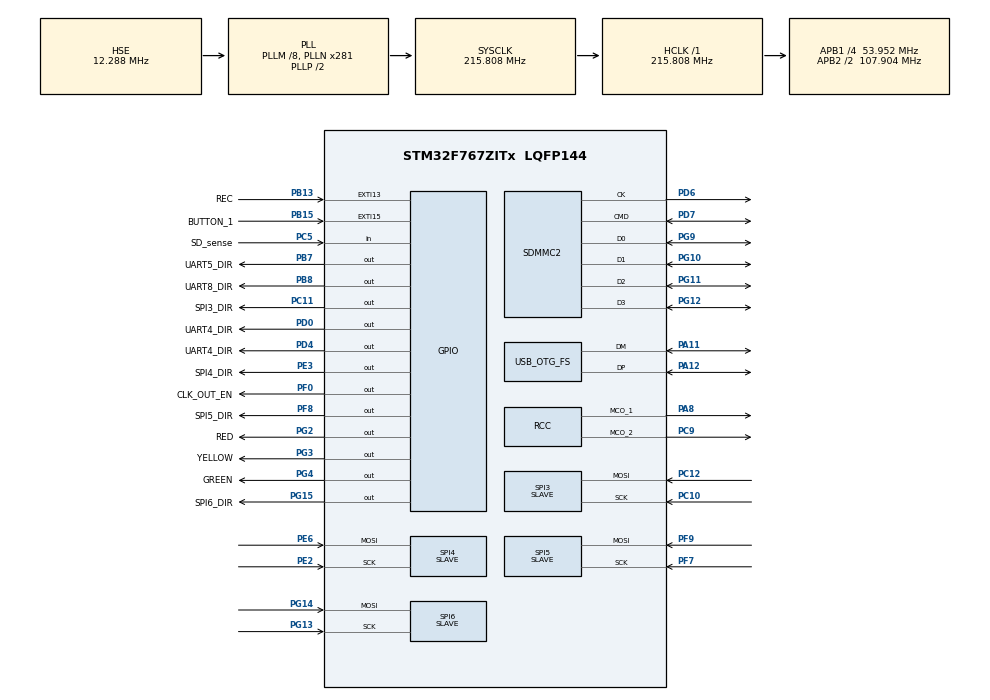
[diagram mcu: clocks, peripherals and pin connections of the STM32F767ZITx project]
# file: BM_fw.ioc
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Dma.Request0=SPI5_RX
Dma.Request1=SPI4_RX
Dma.Request2=SPI3_RX
Dma.Request3=SPI6_RX
Dma.Request4=SDMMC2_TX
Dma.SDMMC2_TX.4.Direction=DMA_MEMORY_TO_PERIPH
Dma.SDMMC2_TX.4.FIFOMode=DMA_FIFOMODE_ENABLE
Dma.SDMMC2_TX.4.FIFOThreshold=DMA_FIFO_THRESHOLD_FULL
Dma.SDMMC2_TX.4.Instance=DMA2_Stream5
Dma.SDMMC2_TX.4.MemBurst=DMA_MBURST_INC4
Dma.SDMMC2_TX.4.MemDataAlignment=DMA_MDATAALIGN_WORD
Dma.SDMMC2_TX.4.MemInc=DMA_MINC_ENABLE
Dma.SDMMC2_TX.4.Mode=DMA_PFCTRL
Dma.SDMMC2_TX.4.PeriphBurst=DMA_PBURST_INC4
Dma.SDMMC2_TX.4.PeriphDataAlignment=DMA_PDATAALIGN_WORD
Dma.SDMMC2_TX.4.PeriphInc=DMA_PINC_DISABLE
Dma.SDMMC2_TX.4.Priority=DMA_PRIORITY_LOW
Dma.SPI3_RX.2.Direction=DMA_PERIPH_TO_MEMORY
Dma.SPI3_RX.2.FIFOMode=DMA_FIFOMODE_DISABLE
Dma.SPI3_RX.2.Instance=DMA1_Stream0
Dma.SPI3_RX.2.MemDataAlignment=DMA_MDATAALIGN_HALFWORD
Dma.SPI3_RX.2.MemInc=DMA_MINC_ENABLE
Dma.SPI3_RX.2.Mode=DMA_CIRCULAR
Dma.SPI3_RX.2.PeriphDataAlignment=DMA_PDATAALIGN_HALFWORD
Dma.SPI3_RX.2.PeriphInc=DMA_PINC_DISABLE
Dma.SPI3_RX.2.Priority=DMA_PRIORITY_HIGH
Dma.SPI4_RX.1.Direction=DMA_PERIPH_TO_MEMORY
Dma.SPI4_RX.1.FIFOMode=DMA_FIFOMODE_DISABLE
Dma.SPI4_RX.1.Instance=DMA2_Stream0
Dma.SPI4_RX.1.MemDataAlignment=DMA_MDATAALIGN_HALFWORD
Dma.SPI4_RX.1.MemInc=DMA_MINC_ENABLE
Dma.SPI4_RX.1.Mode=DMA_CIRCULAR
Dma.SPI4_RX.1.PeriphDataAlignment=DMA_PDATAALIGN_HALFWORD
Dma.SPI4_RX.1.PeriphInc=DMA_PINC_DISABLE
Dma.SPI4_RX.1.Priority=DMA_PRIORITY_HIGH
Dma.SPI5_RX.0.Direction=DMA_PERIPH_TO_MEMORY
Dma.SPI5_RX.0.FIFOMode=DMA_FIFOMODE_DISABLE
Dma.SPI5_RX.0.Instance=DMA2_Stream3
Dma.SPI5_RX.0.MemDataAlignment=DMA_MDATAALIGN_HALFWORD
Dma.SPI5_RX.0.MemInc=DMA_MINC_ENABLE
Dma.SPI5_RX.0.Mode=DMA_CIRCULAR
Dma.SPI5_RX.0.PeriphDataAlignment=DMA_PDATAALIGN_HALFWORD
Dma.SPI5_RX.0.PeriphInc=DMA_PINC_DISABLE
Dma.SPI5_RX.0.Priority=DMA_PRIORITY_HIGH
Dma.SPI6_RX.3.Direction=DMA_PERIPH_TO_MEMORY
Dma.SPI6_RX.3.FIFOMode=DMA_FIFOMODE_DISABLE
Dma.SPI6_RX.3.Instance=DMA2_Stream6
Dma.SPI6_RX.3.MemDataAlignment=DMA_MDATAALIGN_BYTE
Dma.SPI6_RX.3.MemInc=DMA_MINC_ENABLE
Dma.SPI6_RX.3.Mode=DMA_CIRCULAR
Dma.SPI6_RX.3.PeriphDataAlignment=DMA_PDATAALIGN_HALFWORD
Dma.SPI6_RX.3.PeriphInc=DMA_PINC_DISABLE
Dma.SPI6_RX.3.Priority=DMA_PRIORITY_HIGH
FATFS.USE_DMA_CODE_SD=0
FATFS._FS_EXFAT=0
FATFS._FS_LOCK=5
FATFS._MAX_SS=4096
FATFS._MIN_SS=512
Mcu.Family=STM32F7
Mcu.Name=STM32F767ZITx
Mcu.Package=LQFP144
NVIC.DMA1_Stream0_IRQn=true\:0\:0\:false\:false\:true\:false
NVIC.DMA2_Stream0_IRQn=true\:0\:0\:false\:false\:true\:false
NVIC.DMA2_Stream3_IRQn=true\:0\:0\:false\:false\:true\:false
NVIC.DMA2_Stream5_IRQn=true\:0\:0\:false\:false\:true\:false
NVIC.DMA2_Stream6_IRQn=true\:0\:0\:false\:false\:true\:false
NVIC.EXTI15_10_IRQn=true\:0\:0\:false\:false\:true\:true
NVIC.OTG_FS_IRQn=true\:0\:0\:false\:false\:true\:false
NVIC.PriorityGroup=NVIC_PRIORITYGROUP_4
NVIC.TIM8_TRG_COM_TIM14_IRQn=true\:0\:0\:false\:false\:true\:true
PA11.Mode=Device_Only
PA11.Signal=USB_OTG_FS_DM
PA12.Mode=Device_Only
PA12.Signal=USB_OTG_FS_DP
PA8.GPIO_Speed=GPIO_SPEED_FREQ_VERY_HIGH
PA8.Mode=Clock-out-1
PA8.Signal=RCC_MCO_1
PB13.GPIO_Label=REC
PB13.GPIO_PuPd=GPIO_PULLUP
PB13.Signal=GPXTI13
PB15.GPIO_Label=BUTTON_1
PB15.GPIO_PuPd=GPIO_PULLUP
PB15.Signal=GPXTI15
PB7.GPIO_Label=UART5_DIR
PB7.GPIO_Speed=GPIO_SPEED_FREQ_VERY_HIGH
PB7.PinState=GPIO_PIN_RESET
PB7.Signal=GPIO_Output
PB8.GPIO_Label=UART8_DIR
PB8.GPIO_Speed=GPIO_SPEED_FREQ_VERY_HIGH
PB8.PinState=GPIO_PIN_RESET
PB8.Signal=GPIO_Output
PC10.Mode=RX_Only_Simplex_Unidirect_Slave
PC10.Signal=SPI3_SCK
PC11.GPIO_Label=SPI3_DIR
PC11.GPIO_Speed=GPIO_SPEED_FREQ_VERY_HIGH
PC11.PinState=GPIO_PIN_RESET
PC11.Signal=GPIO_Output
PC12.Mode=RX_Only_Simplex_Unidirect_Slave
PC12.Signal=SPI3_MOSI
PC5.GPIO_Label=SD_sense
PC5.Signal=GPIO_Input
PC9.GPIO_Speed=GPIO_SPEED_FREQ_VERY_HIGH
PC9.Mode=Clock-out-2
PC9.Signal=RCC_MCO_2
PD0.GPIO_Label=UART4_DIR
PD0.GPIO_Speed=GPIO_SPEED_FREQ_VERY_HIGH
PD0.PinState=GPIO_PIN_RESET
PD0.Signal=GPIO_Output
PD4.GPIO_Label=UART4_DIR
PD4.GPIO_Speed=GPIO_SPEED_FREQ_VERY_HIGH
PD4.PinState=GPIO_PIN_RESET
PD4.Signal=GPIO_Output
PD6.Mode=SD_4_bits_Wide_bus
PD6.Signal=SDMMC2_CK
PD7.Mode=SD_4_bits_Wide_bus
PD7.Signal=SDMMC2_CMD
PE2.Mode=RX_Only_Simplex_Unidirect_Slave
PE2.Signal=SPI4_SCK
PE3.GPIO_Label=SPI4_DIR
PE3.GPIO_Speed=GPIO_SPEED_FREQ_VERY_HIGH
PE3.PinState=GPIO_PIN_RESET
PE3.Signal=GPIO_Output
PE6.Mode=RX_Only_Simplex_Unidirect_Slave
PE6.Signal=SPI4_MOSI
PF0.GPIO_Label=CLK_OUT_EN
PF0.GPIO_Speed=GPIO_SPEED_FREQ_VERY_HIGH
PF0.PinState=GPIO_PIN_RESET
PF0.Signal=GPIO_Output
PF7.Mode=RX_Only_Simplex_Unidirect_Slave
PF7.Signal=SPI5_SCK
PF8.GPIO_Label=SPI5_DIR
PF8.GPIO_Speed=GPIO_SPEED_FREQ_VERY_HIGH
PF8.PinState=GPIO_PIN_RESET
PF8.Signal=GPIO_Output
PF9.Mode=RX_Only_Simplex_Unidirect_Slave
PF9.Signal=SPI5_MOSI
PG10.Mode=SD_4_bits_Wide_bus
PG10.Signal=SDMMC2_D1
PG11.Mode=SD_4_bits_Wide_bus
PG11.Signal=SDMMC2_D2
PG12.Mode=SD_4_bits_Wide_bus
PG12.Signal=SDMMC2_D3
PG13.Mode=RX_Only_Simplex_Unidirect_Slave
PG13.Signal=SPI6_SCK
PG14.Mode=RX_Only_Simplex_Unidirect_Slave
PG14.Signal=SPI6_MOSI
PG15.GPIO_Label=SPI6_DIR
PG15.GPIO_Speed=GPIO_SPEED_FREQ_VERY_HIGH
PG15.PinState=GPIO_PIN_RESET
PG15.Signal=GPIO_Output
PG2.GPIO_Label=RED
PG2.GPIO_Speed=GPIO_SPEED_FREQ_HIGH
PG2.Signal=GPIO_Output
PG3.GPIO_Label=YELLOW
PG3.GPIO_Speed=GPIO_SPEED_FREQ_HIGH
PG3.Signal=GPIO_Output
PG4.GPIO_Label=GREEN
PG4.GPIO_Speed=GPIO_SPEED_FREQ_HIGH
PG4.Signal=GPIO_Output
PG9.Mode=SD_4_bits_Wide_bus
PG9.Signal=SDMMC2_D0
PH0/OSC_IN.Mode=HSE-External-Oscillator
PH0/OSC_IN.Signal=RCC_OSC_IN
PH1/OSC_OUT.Mode=HSE-External-Oscillator
PH1/OSC_OUT.Signal=RCC_OSC_OUT
ProjectManager.HeapSize=0xF000
ProjectManager.StackSize=0xF000
ProjectManager.TargetToolchain=MDK-ARM V5
RCC.AHBFreq_Value=215808000
RCC.APB1CLKDivider=RCC_HCLK_DIV4
RCC.APB1Freq_Value=53952000
RCC.APB1TimFreq_Value=107904000
RCC.APB2CLKDivider=RCC_HCLK_DIV2
RCC.APB2Freq_Value=107904000
RCC.APB2TimFreq_Value=215808000
RCC.CortexFreq_Value=215808000
RCC.HCLKFreq_Value=215808000
RCC.HSE_VALUE=12288000
RCC.HSI_VALUE=16000000
RCC.LSE_VALUE=32768
RCC.PLL48CLockSelection=RCC_CLK48SOURCE_PLLSAIP
RCC.PLLI2SN=128
RCC.PLLI2SR=7
RCC.PLLM=8
RCC.PLLN=281
RCC.PLLQ=9
RCC.PLLSAIN=125
RCC.PLLSAIP=RCC_PLLSAIP_DIV4
RCC.RCC_MCO1Source=RCC_MCO1SOURCE_HSE
RCC.RCC_MCO2Source=RCC_MCO2SOURCE_HSE
RCC.SDMMC2ClockSelection=RCC_SDMMC2CLKSOURCE_CLK48
RCC.SYSCLKFreq_VALUE=215808000
RCC.SYSCLKSource=RCC_SYSCLKSOURCE_PLLCLK
RCC.USBFreq_Value=48000000
RCC.VCOOutputFreq_Value=431616000
SDMMC2.ClockDiv=2
SPI3.CLKPhase=SPI_PHASE_2EDGE
SPI3.CLKPolarity=SPI_POLARITY_HIGH
SPI3.DataSize=SPI_DATASIZE_16BIT
SPI3.Direction=SPI_DIRECTION_2LINES_RXONLY
SPI3.Mode=SPI_MODE_SLAVE
SPI3.VirtualType=VM_SLAVE
SPI4.CLKPhase=SPI_PHASE_2EDGE
SPI4.CLKPolarity=SPI_POLARITY_HIGH
SPI4.DataSize=SPI_DATASIZE_16BIT
SPI4.Direction=SPI_DIRECTION_2LINES_RXONLY
SPI4.Mode=SPI_MODE_SLAVE
SPI4.VirtualType=VM_SLAVE
SPI5.CLKPhase=SPI_PHASE_2EDGE
SPI5.CLKPolarity=SPI_POLARITY_HIGH
SPI5.DataSize=SPI_DATASIZE_16BIT
SPI5.Direction=SPI_DIRECTION_2LINES_RXONLY
SPI5.Mode=SPI_MODE_SLAVE
SPI5.VirtualType=VM_SLAVE
SPI6.CLKPhase=SPI_PHASE_2EDGE
SPI6.CLKPolarity=SPI_POLARITY_HIGH
SPI6.DataSize=SPI_DATASIZE_16BIT
SPI6.Direction=SPI_DIRECTION_2LINES_RXONLY
SPI6.Mode=SPI_MODE_SLAVE
SPI6.VirtualType=VM_SLAVE
TIM14.AutoReloadPreload=TIM_AUTORELOAD_PRELOAD_ENABLE
TIM14.Period=107
TIM14.Prescaler=1000
USB_DEVICE.CLASS_NAME_FS=AUDIO
USB_DEVICE.USBD_AUDIO_FREQ-AUDIO_FS=24000
USB_DEVICE.USBD_LPM_ENABLED-AUDIO_FS=0
USB_DEVICE.VirtualMode-AUDIO_FS=Audio
USB_DEVICE.VirtualModeFS=Audio_FS
USB_OTG_FS.Sof_enable=ENABLE
USB_OTG_FS.VirtualMode=Device_Only
VP_FATFS_VS_SDIO.Mode=SDIO
VP_TIM14_VS_ClockSourceINT.Mode=Enable_Timer
VP_USB_DEVICE_VS_USB_DEVICE_AUDIO_FS.Mode=AUDIO_FS
board=custom

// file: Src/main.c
/**
  ******************************************************************************
  * @file           : main.c
  * @brief          : Main program body
  ******************************************************************************
  * This notice applies to any and all portions of this file
  * that are not between comment pairs USER CODE BEGIN and
  * USER CODE END. Other portions of this file, whether
  * inserted by the user or by software development tools
  * are owned by their respective copyright owners.
  *
  * Copyright (c) 2018 STMicroelectronics International N.V.
  * All rights reserved.
  *
  * Redistribution and use in source and binary forms, with or without
  * modification, are permitted, provided that the following conditions are met:
  *
  * 1. Redistribution of source code must retain the above copyright notice,
  *    this list of conditions and the following disclaimer.
  * 2. Redistributions in binary form must reproduce the above copyright notice,
  *    this list of conditions and the following disclaimer in the documentation
  *    and/or other materials provided with the distribution.
  * 3. Neither the name of STMicroelectronics nor the names of other
  *    contributors to this software may be used to endorse or promote products
  *    derived from this software without specific written permission.
  * 4. This software, including modifications and/or derivative works of this
  *    software, must execute solely and exclusively on microcontroller or
  *    microprocessor devices manufactured by or for STMicroelectronics.
  * 5. Redistribution and use of this software other than as permitted under
  *    this license is void and will automatically terminate your rights under
  *    this license.
  *
  * THIS SOFTWARE IS PROVIDED BY STMICROELECTRONICS AND CONTRIBUTORS "AS IS"
  * AND ANY EXPRESS, IMPLIED OR STATUTORY WARRANTIES, INCLUDING, BUT NOT
  * LIMITED TO, THE IMPLIED WARRANTIES OF MERCHANTABILITY, FITNESS FOR A
  * PARTICULAR PURPOSE AND NON-INFRINGEMENT OF THIRD PARTY INTELLECTUAL PROPERTY
  * RIGHTS ARE DISCLAIMED TO THE FULLEST EXTENT PERMITTED BY LAW. IN NO EVENT
  * SHALL STMICROELECTRONICS OR CONTRIBUTORS BE LIABLE FOR ANY DIRECT, INDIRECT,
  * INCIDENTAL, SPECIAL, EXEMPLARY, OR CONSEQUENTIAL DAMAGES (INCLUDING, BUT NOT
  * LIMITED TO, PROCUREMENT OF SUBSTITUTE GOODS OR SERVICES; LOSS OF USE, DATA,
  * OR PROFITS; OR BUSINESS INTERRUPTION) HOWEVER CAUSED AND ON ANY THEORY OF
  * LIABILITY, WHETHER IN CONTRACT, STRICT LIABILITY, OR TORT (INCLUDING
  * NEGLIGENCE OR OTHERWISE) ARISING IN ANY WAY OUT OF THE USE OF THIS SOFTWARE,
  * EVEN IF ADVISED OF THE POSSIBILITY OF SUCH DAMAGE.
  *
  ******************************************************************************
  */
#include "main.h"
#include "stm32f7xx_hal.h"
#include "fatfs.h"
#include "usb_device.h"

/* USER CODE BEGIN Includes */

#include "fileSystem.h"
#include "fifo.h"
#include "usb_device.h"
#include "storage.h"
#include "ff.h"

/* USER CODE END Includes */

SD_HandleTypeDef hsd2;
DMA_HandleTypeDef hdma_sdmmc2_tx;

SPI_HandleTypeDef hspi3;
SPI_HandleTypeDef hspi4;
SPI_HandleTypeDef hspi5;
SPI_HandleTypeDef hspi6;
DMA_HandleTypeDef hdma_spi3_rx;
DMA_HandleTypeDef hdma_spi4_rx;
DMA_HandleTypeDef hdma_spi5_rx;
DMA_HandleTypeDef hdma_spi6_rx;

TIM_HandleTypeDef htim14;

/* USER CODE BEGIN PV */
/* Private variables ---------------------------------------------------------*/

int16_t receiveBuffer5[BUFFER_SIZE];
int16_t receiveBuffer4[BUFFER_SIZE];
int16_t receiveBuffer6[BUFFER_SIZE];
int16_t receiveBuffer3[BUFFER_SIZE];

int locked = 1;

/* USER CODE END PV */

void SystemClock_Config(void);
static void MX_GPIO_Init(void);
static void MX_DMA_Init(void);
static void MX_SPI3_Init(void);
static void MX_SPI6_Init(void);
static void MX_SDMMC2_SD_Init(void);
static void MX_SPI5_Init(void);
static void MX_SPI4_Init(void);
static void MX_TIM14_Init(void);

/* USER CODE BEGIN PFP */
/* Private function prototypes -----------------------------------------------*/

/* USER CODE END PFP */

int main(void)
{

  /* MCU Configuration----------------------------------------------------------*/

  /* Reset of all peripherals, Initializes the Flash interface and the Systick. */
  HAL_Init();

  /* Configure the system clock */
  SystemClock_Config();

  /* Initialize all configured peripherals */
  MX_GPIO_Init();
  MX_DMA_Init();
  MX_SPI3_Init();
  MX_SPI6_Init();
  MX_SDMMC2_SD_Init();
  MX_FATFS_Init();
  MX_SPI5_Init();
  MX_SPI4_Init();
  MX_USB_DEVICE_Init();
  MX_TIM14_Init();
  /* USER CODE BEGIN 2 */

  HAL_GPIO_WritePin(RED_GPIO_Port, RED_Pin, GPIO_PIN_SET);
  HAL_GPIO_WritePin(YELLOW_GPIO_Port, YELLOW_Pin, GPIO_PIN_SET);
  HAL_GPIO_WritePin(GREEN_GPIO_Port, GREEN_Pin, GPIO_PIN_SET);
  init_file_system();

  //start_new_session();

  /* USER CODE END 2 */

  /* Infinite loop */
  /* USER CODE BEGIN WHILE */

  int i;

  for (i=0; i<BUFFER_SIZE; i++)
  {
    receiveBuffer5[i] = 0;
    receiveBuffer4[i] = 0;
    receiveBuffer6[i] = 0;
    receiveBuffer3[i] = 0;
  }

  HAL_SPI_Receive_DMA(&hspi5, (uint8_t*)receiveBuffer5, BUFFER_SIZE);
  HAL_SPI_Receive_DMA(&hspi4, (uint8_t*)receiveBuffer4, BUFFER_SIZE);
  HAL_SPI_Receive_DMA(&hspi6, (uint8_t*)receiveBuffer6, BUFFER_SIZE);
  HAL_SPI_Receive_DMA(&hspi3, (uint8_t*)receiveBuffer3, BUFFER_SIZE);

  start_new_session();

  HAL_GPIO_WritePin(RED_GPIO_Port, RED_Pin, GPIO_PIN_RESET);
  HAL_GPIO_WritePin(YELLOW_GPIO_Port, YELLOW_Pin, GPIO_PIN_RESET);
  HAL_GPIO_WritePin(GREEN_GPIO_Port, GREEN_Pin, GPIO_PIN_RESET);

  HAL_GPIO_WritePin(CLK_OUT_EN_GPIO_Port, CLK_OUT_EN_Pin, GPIO_PIN_SET);

  while (1)
  {

  /* USER CODE END WHILE */

  }

}

void SystemClock_Config(void)
{

  RCC_OscInitTypeDef RCC_OscInitStruct;
  RCC_ClkInitTypeDef RCC_ClkInitStruct;
  RCC_PeriphCLKInitTypeDef PeriphClkInitStruct;

    /**Configure the main internal regulator output voltage
    */
  __HAL_RCC_PWR_CLK_ENABLE();

  __HAL_PWR_VOLTAGESCALING_CONFIG(PWR_REGULATOR_VOLTAGE_SCALE1);

    /**Initializes the CPU, AHB and APB busses clocks
    */
  RCC_OscInitStruct.OscillatorType = RCC_OSCILLATORTYPE_HSE;
  RCC_OscInitStruct.HSEState = RCC_HSE_ON;
  RCC_OscInitStruct.PLL.PLLState = RCC_PLL_ON;
  RCC_OscInitStruct.PLL.PLLSource = RCC_PLLSOURCE_HSE;
  RCC_OscInitStruct.PLL.PLLM = 8;
  RCC_OscInitStruct.PLL.PLLN = 281;
  RCC_OscInitStruct.PLL.PLLP = RCC_PLLP_DIV2;
  RCC_OscInitStruct.PLL.PLLQ = 9;
  if (HAL_RCC_OscConfig(&RCC_OscInitStruct) != HAL_OK)
  {
    _Error_Handler(__FILE__, __LINE__);
  }

    /**Activate the Over-Drive mode
    */
  if (HAL_PWREx_EnableOverDrive() != HAL_OK)
  {
    _Error_Handler(__FILE__, __LINE__);
  }

    /**Initializes the CPU, AHB and APB busses clocks
    */
  RCC_ClkInitStruct.ClockType = RCC_CLOCKTYPE_HCLK|RCC_CLOCKTYPE_SYSCLK
                              |RCC_CLOCKTYPE_PCLK1|RCC_CLOCKTYPE_PCLK2;
  RCC_ClkInitStruct.SYSCLKSource = RCC_SYSCLKSOURCE_PLLCLK;
  RCC_ClkInitStruct.AHBCLKDivider = RCC_SYSCLK_DIV1;
  RCC_ClkInitStruct.APB1CLKDivider = RCC_HCLK_DIV4;
  RCC_ClkInitStruct.APB2CLKDivider = RCC_HCLK_DIV2;

  if (HAL_RCC_ClockConfig(&RCC_ClkInitStruct, FLASH_LATENCY_7) != HAL_OK)
  {
    _Error_Handler(__FILE__, __LINE__);
  }

  PeriphClkInitStruct.PeriphClockSelection = RCC_PERIPHCLK_SDMMC2|RCC_PERIPHCLK_CLK48;
  PeriphClkInitStruct.PLLSAI.PLLSAIN = 125;
  PeriphClkInitStruct.PLLSAI.PLLSAIR = 2;
  PeriphClkInitStruct.PLLSAI.PLLSAIQ = 2;
  PeriphClkInitStruct.PLLSAI.PLLSAIP = RCC_PLLSAIP_DIV4;
  PeriphClkInitStruct.PLLSAIDivQ = 1;
  PeriphClkInitStruct.PLLSAIDivR = RCC_PLLSAIDIVR_2;
  PeriphClkInitStruct.Clk48ClockSelection = RCC_CLK48SOURCE_PLLSAIP;
  PeriphClkInitStruct.Sdmmc2ClockSelection = RCC_SDMMC2CLKSOURCE_CLK48;
  if (HAL_RCCEx_PeriphCLKConfig(&PeriphClkInitStruct) != HAL_OK)
  {
    _Error_Handler(__FILE__, __LINE__);
  }

  HAL_RCC_MCOConfig(RCC_MCO1, RCC_MCO1SOURCE_HSE, RCC_MCODIV_1);

  HAL_RCC_MCOConfig(RCC_MCO2, RCC_MCO2SOURCE_HSE, RCC_MCODIV_1);

    /**Configure the Systick interrupt time
    */
  HAL_SYSTICK_Config(HAL_RCC_GetHCLKFreq()/1000);

    /**Configure the Systick
    */
  HAL_SYSTICK_CLKSourceConfig(SYSTICK_CLKSOURCE_HCLK);

  /* SysTick_IRQn interrupt configuration */
  HAL_NVIC_SetPriority(SysTick_IRQn, 0, 0);
}

/* SDMMC2 init function */
static void MX_SDMMC2_SD_Init(void)
{

  hsd2.Instance = SDMMC2;
  hsd2.Init.ClockEdge = SDMMC_CLOCK_EDGE_RISING;
  hsd2.Init.ClockBypass = SDMMC_CLOCK_BYPASS_DISABLE;
  hsd2.Init.ClockPowerSave = SDMMC_CLOCK_POWER_SAVE_DISABLE;
  hsd2.Init.BusWide = SDMMC_BUS_WIDE_1B;
  hsd2.Init.HardwareFlowControl = SDMMC_HARDWARE_FLOW_CONTROL_DISABLE;
  hsd2.Init.ClockDiv = 2;

}

/* SPI3 init function */
static void MX_SPI3_Init(void)
{

  /* SPI3 parameter configuration*/
  hspi3.Instance = SPI3;
  hspi3.Init.Mode = SPI_MODE_SLAVE;
  hspi3.Init.Direction = SPI_DIRECTION_2LINES_RXONLY;
  hspi3.Init.DataSize = SPI_DATASIZE_16BIT;
  hspi3.Init.CLKPolarity = SPI_POLARITY_HIGH;
  hspi3.Init.CLKPhase = SPI_PHASE_2EDGE;
  hspi3.Init.NSS = SPI_NSS_SOFT;
  hspi3.Init.FirstBit = SPI_FIRSTBIT_MSB;
  hspi3.Init.TIMode = SPI_TIMODE_DISABLE;
  hspi3.Init.CRCCalculation = SPI_CRCCALCULATION_DISABLE;
  hspi3.Init.CRCPolynomial = 7;
  hspi3.Init.CRCLength = SPI_CRC_LENGTH_DATASIZE;
  hspi3.Init.NSSPMode = SPI_NSS_PULSE_DISABLE;
  if (HAL_SPI_Init(&hspi3) != HAL_OK)
  {
    _Error_Handler(__FILE__, __LINE__);
  }

}

/* SPI4 init function */
static void MX_SPI4_Init(void)
{

  /* SPI4 parameter configuration*/
  hspi4.Instance = SPI4;
  hspi4.Init.Mode = SPI_MODE_SLAVE;
  hspi4.Init.Direction = SPI_DIRECTION_2LINES_RXONLY;
  hspi4.Init.DataSize = SPI_DATASIZE_16BIT;
  hspi4.Init.CLKPolarity = SPI_POLARITY_HIGH;
  hspi4.Init.CLKPhase = SPI_PHASE_2EDGE;
  hspi4.Init.NSS = SPI_NSS_SOFT;
  hspi4.Init.FirstBit = SPI_FIRSTBIT_MSB;
  hspi4.Init.TIMode = SPI_TIMODE_DISABLE;
  hspi4.Init.CRCCalculation = SPI_CRCCALCULATION_DISABLE;
  hspi4.Init.CRCPolynomial = 7;
  hspi4.Init.CRCLength = SPI_CRC_LENGTH_DATASIZE;
  hspi4.Init.NSSPMode = SPI_NSS_PULSE_DISABLE;
  if (HAL_SPI_Init(&hspi4) != HAL_OK)
  {
    _Error_Handler(__FILE__, __LINE__);
  }

}

/* SPI5 init function */
static void MX_SPI5_Init(void)
{

  /* SPI5 parameter configuration*/
  hspi5.Instance = SPI5;
  hspi5.Init.Mode = SPI_MODE_SLAVE;
  hspi5.Init.Direction = SPI_DIRECTION_2LINES_RXONLY;
  hspi5.Init.DataSize = SPI_DATASIZE_16BIT;
  hspi5.Init.CLKPolarity = SPI_POLARITY_HIGH;
  hspi5.Init.CLKPhase = SPI_PHASE_2EDGE;
  hspi5.Init.NSS = SPI_NSS_SOFT;
  hspi5.Init.FirstBit = SPI_FIRSTBIT_MSB;
  hspi5.Init.TIMode = SPI_TIMODE_DISABLE;
  hspi5.Init.CRCCalculation = SPI_CRCCALCULATION_DISABLE;
  hspi5.Init.CRCPolynomial = 7;
  hspi5.Init.CRCLength = SPI_CRC_LENGTH_DATASIZE;
  hspi5.Init.NSSPMode = SPI_NSS_PULSE_DISABLE;
  if (HAL_SPI_Init(&hspi5) != HAL_OK)
  {
    _Error_Handler(__FILE__, __LINE__);
  }

}

/* SPI6 init function */
static void MX_SPI6_Init(void)
{

  /* SPI6 parameter configuration*/
  hspi6.Instance = SPI6;
  hspi6.Init.Mode = SPI_MODE_SLAVE;
  hspi6.Init.Direction = SPI_DIRECTION_2LINES_RXONLY;
  hspi6.Init.DataSize = SPI_DATASIZE_16BIT;
  hspi6.Init.CLKPolarity = SPI_POLARITY_HIGH;
  hspi6.Init.CLKPhase = SPI_PHASE_2EDGE;
  hspi6.Init.NSS = SPI_NSS_SOFT;
  hspi6.Init.FirstBit = SPI_FIRSTBIT_MSB;
  hspi6.Init.TIMode = SPI_TIMODE_DISABLE;
  hspi6.Init.CRCCalculation = SPI_CRCCALCULATION_DISABLE;
  hspi6.Init.CRCPolynomial = 7;
  hspi6.Init.CRCLength = SPI_CRC_LENGTH_DATASIZE;
  hspi6.Init.NSSPMode = SPI_NSS_PULSE_DISABLE;
  if (HAL_SPI_Init(&hspi6) != HAL_OK)
  {
    _Error_Handler(__FILE__, __LINE__);
  }

}

/* TIM14 init function */
static void MX_TIM14_Init(void)
{

  htim14.Instance = TIM14;
  htim14.Init.Prescaler = 1000;
  htim14.Init.CounterMode = TIM_COUNTERMODE_UP;
  htim14.Init.Period = 107;
  htim14.Init.ClockDivision = TIM_CLOCKDIVISION_DIV1;
  htim14.Init.AutoReloadPreload = TIM_AUTORELOAD_PRELOAD_ENABLE;
  if (HAL_TIM_Base_Init(&htim14) != HAL_OK)
  {
    _Error_Handler(__FILE__, __LINE__);
  }

}

static void MX_DMA_Init(void)
{
  /* DMA controller clock enable */
  __HAL_RCC_DMA2_CLK_ENABLE();
  __HAL_RCC_DMA1_CLK_ENABLE();

  /* DMA interrupt init */
  /* DMA1_Stream0_IRQn interrupt configuration */
  HAL_NVIC_SetPriority(DMA1_Stream0_IRQn, 0, 0);
  HAL_NVIC_EnableIRQ(DMA1_Stream0_IRQn);
  /* DMA2_Stream0_IRQn interrupt configuration */
  HAL_NVIC_SetPriority(DMA2_Stream0_IRQn, 0, 0);
  HAL_NVIC_EnableIRQ(DMA2_Stream0_IRQn);
  /* DMA2_Stream3_IRQn interrupt configuration */
  HAL_NVIC_SetPriority(DMA2_Stream3_IRQn, 0, 0);
  HAL_NVIC_EnableIRQ(DMA2_Stream3_IRQn);
  /* DMA2_Stream5_IRQn interrupt configuration */
  HAL_NVIC_SetPriority(DMA2_Stream5_IRQn, 0, 0);
  HAL_NVIC_EnableIRQ(DMA2_Stream5_IRQn);
  /* DMA2_Stream6_IRQn interrupt configuration */
  HAL_NVIC_SetPriority(DMA2_Stream6_IRQn, 0, 0);
  HAL_NVIC_EnableIRQ(DMA2_Stream6_IRQn);

}

/** Configure pins as
        * Analog
        * Input
        * Output
        * EVENT_OUT
        * EXTI
     PC9   ------> RCC_MCO_2
     PA8   ------> RCC_MCO_1
*/
static void MX_GPIO_Init(void)
{

  GPIO_InitTypeDef GPIO_InitStruct;

  /* GPIO Ports Clock Enable */
  __HAL_RCC_GPIOE_CLK_ENABLE();
  __HAL_RCC_GPIOF_CLK_ENABLE();
  __HAL_RCC_GPIOH_CLK_ENABLE();
  __HAL_RCC_GPIOC_CLK_ENABLE();
  __HAL_RCC_GPIOB_CLK_ENABLE();
  __HAL_RCC_GPIOG_CLK_ENABLE();
  __HAL_RCC_GPIOA_CLK_ENABLE();
  __HAL_RCC_GPIOD_CLK_ENABLE();

  /*Configure GPIO pin Output Level */
  HAL_GPIO_WritePin(SPI4_DIR_GPIO_Port, SPI4_DIR_Pin, GPIO_PIN_RESET);

  /*Configure GPIO pin Output Level */
  HAL_GPIO_WritePin(GPIOF, CLK_OUT_EN_Pin|SPI5_DIR_Pin, GPIO_PIN_RESET);

  /*Configure GPIO pin Output Level */
  HAL_GPIO_WritePin(GPIOG, RED_Pin|YELLOW_Pin|GREEN_Pin|SPI6_DIR_Pin, GPIO_PIN_RESET);

  /*Configure GPIO pin Output Level */
  HAL_GPIO_WritePin(SPI3_DIR_GPIO_Port, SPI3_DIR_Pin, GPIO_PIN_RESET);

  /*Configure GPIO pin Output Level */
  HAL_GPIO_WritePin(GPIOD, UART4_DIR_Pin|UART4_DIRD4_Pin, GPIO_PIN_RESET);

  /*Configure GPIO pin Output Level */
  HAL_GPIO_WritePin(GPIOB, UART5_DIR_Pin|UART8_DIR_Pin, GPIO_PIN_RESET);

  /*Configure GPIO pin : SPI4_DIR_Pin */
  GPIO_InitStruct.Pin = SPI4_DIR_Pin;
  GPIO_InitStruct.Mode = GPIO_MODE_OUTPUT_PP;
  GPIO_InitStruct.Pull = GPIO_NOPULL;
  GPIO_InitStruct.Speed = GPIO_SPEED_FREQ_VERY_HIGH;
  HAL_GPIO_Init(SPI4_DIR_GPIO_Port, &GPIO_InitStruct);

  /*Configure GPIO pins : CLK_OUT_EN_Pin SPI5_DIR_Pin */
  GPIO_InitStruct.Pin = CLK_OUT_EN_Pin|SPI5_DIR_Pin;
  GPIO_InitStruct.Mode = GPIO_MODE_OUTPUT_PP;
  GPIO_InitStruct.Pull = GPIO_NOPULL;
  GPIO_InitStruct.Speed = GPIO_SPEED_FREQ_VERY_HIGH;
  HAL_GPIO_Init(GPIOF, &GPIO_InitStruct);

  /*Configure GPIO pin : SD_sense_Pin */
  GPIO_InitStruct.Pin = SD_sense_Pin;
  GPIO_InitStruct.Mode = GPIO_MODE_INPUT;
  GPIO_InitStruct.Pull = GPIO_NOPULL;
  HAL_GPIO_Init(SD_sense_GPIO_Port, &GPIO_InitStruct);

  /*Configure GPIO pins : REC_Pin BUTTON_1_Pin */
  GPIO_InitStruct.Pin = REC_Pin|BUTTON_1_Pin;
  GPIO_InitStruct.Mode = GPIO_MODE_IT_FALLING;
  GPIO_InitStruct.Pull = GPIO_PULLUP;
  HAL_GPIO_Init(GPIOB, &GPIO_InitStruct);

  /*Configure GPIO pins : RED_Pin YELLOW_Pin GREEN_Pin */
  GPIO_InitStruct.Pin = RED_Pin|YELLOW_Pin|GREEN_Pin;
  GPIO_InitStruct.Mode = GPIO_MODE_OUTPUT_PP;
  GPIO_InitStruct.Pull = GPIO_NOPULL;
  GPIO_InitStruct.Speed = GPIO_SPEED_FREQ_HIGH;
  HAL_GPIO_Init(GPIOG, &GPIO_InitStruct);

  /*Configure GPIO pin : PC9 */
  GPIO_InitStruct.Pin = GPIO_PIN_9;
  GPIO_InitStruct.Mode = GPIO_MODE_AF_PP;
  GPIO_InitStruct.Pull = GPIO_NOPULL;
  GPIO_InitStruct.Speed = GPIO_SPEED_FREQ_VERY_HIGH;
  GPIO_InitStruct.Alternate = GPIO_AF0_MCO;
  HAL_GPIO_Init(GPIOC, &GPIO_InitStruct);

  /*Configure GPIO pin : PA8 */
  GPIO_InitStruct.Pin = GPIO_PIN_8;
  GPIO_InitStruct.Mode = GPIO_MODE_AF_PP;
  GPIO_InitStruct.Pull = GPIO_NOPULL;
  GPIO_InitStruct.Speed = GPIO_SPEED_FREQ_VERY_HIGH;
  GPIO_InitStruct.Alternate = GPIO_AF0_MCO;
  HAL_GPIO_Init(GPIOA, &GPIO_InitStruct);

  /*Configure GPIO pin : SPI3_DIR_Pin */
  GPIO_InitStruct.Pin = SPI3_DIR_Pin;
  GPIO_InitStruct.Mode = GPIO_MODE_OUTPUT_PP;
  GPIO_InitStruct.Pull = GPIO_NOPULL;
  GPIO_InitStruct.Speed = GPIO_SPEED_FREQ_VERY_HIGH;
  HAL_GPIO_Init(SPI3_DIR_GPIO_Port, &GPIO_InitStruct);

  /*Configure GPIO pins : UART4_DIR_Pin UART4_DIRD4_Pin */
  GPIO_InitStruct.Pin = UART4_DIR_Pin|UART4_DIRD4_Pin;
  GPIO_InitStruct.Mode = GPIO_MODE_OUTPUT_PP;
  GPIO_InitStruct.Pull = GPIO_NOPULL;
  GPIO_InitStruct.Speed = GPIO_SPEED_FREQ_VERY_HIGH;
  HAL_GPIO_Init(GPIOD, &GPIO_InitStruct);

  /*Configure GPIO pin : SPI6_DIR_Pin */
  GPIO_InitStruct.Pin = SPI6_DIR_Pin;
  GPIO_InitStruct.Mode = GPIO_MODE_OUTPUT_PP;
  GPIO_InitStruct.Pull = GPIO_NOPULL;
  GPIO_InitStruct.Speed = GPIO_SPEED_FREQ_VERY_HIGH;
  HAL_GPIO_Init(SPI6_DIR_GPIO_Port, &GPIO_InitStruct);

  /*Configure GPIO pins : UART5_DIR_Pin UART8_DIR_Pin */
  GPIO_InitStruct.Pin = UART5_DIR_Pin|UART8_DIR_Pin;
  GPIO_InitStruct.Mode = GPIO_MODE_OUTPUT_PP;
  GPIO_InitStruct.Pull = GPIO_NOPULL;
  GPIO_InitStruct.Speed = GPIO_SPEED_FREQ_VERY_HIGH;
  HAL_GPIO_Init(GPIOB, &GPIO_InitStruct);

  /* EXTI interrupt init*/
  HAL_NVIC_SetPriority(EXTI15_10_IRQn, 0, 0);
  HAL_NVIC_EnableIRQ(EXTI15_10_IRQn);

}

void _Error_Handler(char *file, int line)
{
  while(1)
  {
  }
}

/************************ (C) COPYRIGHT STMicroelectronics *****END OF FILE****/
